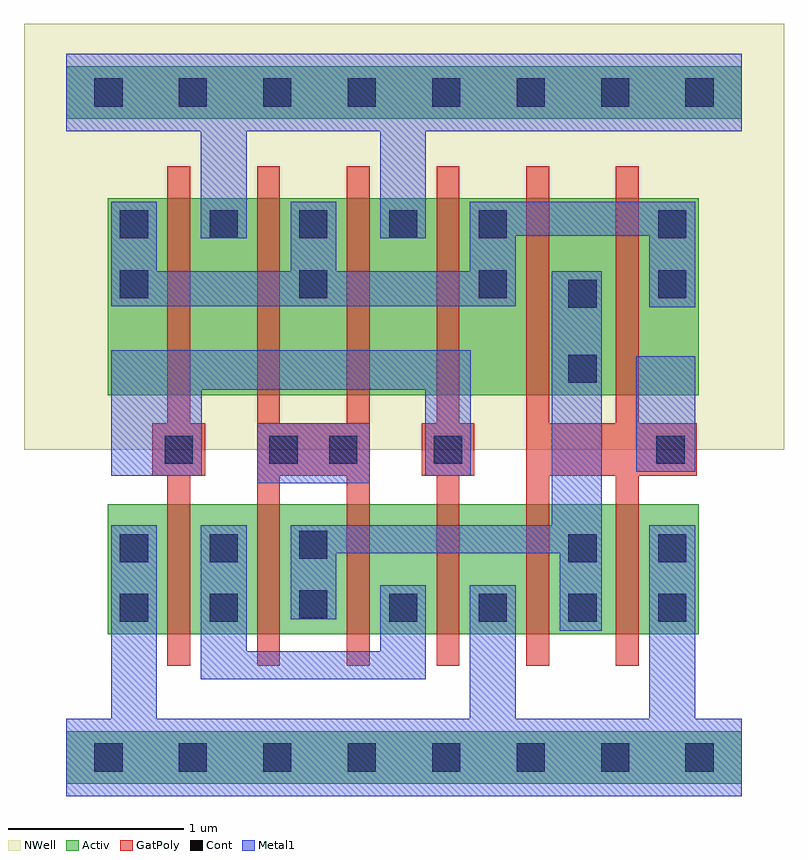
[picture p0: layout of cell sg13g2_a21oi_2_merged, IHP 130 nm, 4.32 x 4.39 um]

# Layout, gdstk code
import gdstk
lib = gdstk.Library(unit=1e-6, precision=1e-09)
def R(c, l, rs):  # rectangles x0, y0, x1, y1
    for r in rs: c.add(gdstk.rectangle(r[:2], r[2:], *l))
def A(c, l, x, y, w, h, nx, ny, dx, dy):  # array of equal rectangles
    R(c, l, [(x+i*dx, y+j*dy, x+i*dx+w, y+j*dy+h) for i in range(nx) for j in range(ny)])
def P(c, l, *ps):  # polygons
    for p in ps: c.add(gdstk.Polygon(p, *l))
Activ = (1, 0)
GatPoly = (5, 0)
Cont = (6, 0)
Metal1 = (8, 0)
NWell = (31, 0)

sg13g2_a21oi_2_merged = lib.new_cell('sg13g2_a21oi_2_merged')
R(sg13g2_a21oi_2_merged, Activ, [(0,-0.15,3.84,0.15), (0.235,0.7,3.595,1.44), (0.235,2.06,3.595,3.18), (0,3.63,3.84,3.93)])
P(sg13g2_a21oi_2_merged, GatPoly, [(0.575,0.52),(0.575,1.6),(0.49,1.6),(0.49,1.9),(0.575,1.9),(0.575,3.36),(0.705,3.36),(0.705,1.9),(0.79,1.9),(0.79,1.6),(0.705,1.6),(0.705,0.52)],
  [(1.085,0.52),(1.085,3.36),(1.215,3.36),(1.215,1.9),(1.595,1.9),(1.595,3.36),(1.725,3.36),(1.725,0.52),(1.595,0.52),(1.595,1.6),(1.215,1.6),(1.215,0.52)],
  [(2.105,0.52),(2.105,1.6),(2.02,1.6),(2.02,1.9),(2.105,1.9),(2.105,3.36),(2.235,3.36),(2.235,1.9),(2.32,1.9),(2.32,1.6),(2.235,1.6),(2.235,0.52)],
  [(2.615,0.52),(2.615,3.36),(2.745,3.36),(2.745,1.9),(3.125,1.9),(3.125,3.36),(3.255,3.36),(3.255,1.9),(3.585,1.9),(3.585,1.6),(3.255,1.6),(3.255,0.52),(3.125,0.52),(3.125,1.6),(2.745,1.6),(2.745,0.52)])
A(sg13g2_a21oi_2_merged, Cont, 0.16, -0.08, 0.16, 0.16, 8, 2, 0.48, 3.78)
A(sg13g2_a21oi_2_merged, Cont, 1.835, 0.77, 0.16, 0.16, 4, 1, 0.51, 0)
A(sg13g2_a21oi_2_merged, Cont, 0.305, 2.61, 0.16, 0.16, 4, 1, 1.02, 0)
A(sg13g2_a21oi_2_merged, Cont, 0.305, 2.95, 0.16, 0.16, 5, 1, 0.51, 0)
R(sg13g2_a21oi_2_merged, Cont, [(0.305,0.77,0.465,0.93), (0.815,0.77,0.975,0.93), (1.325,0.79,1.485,0.95), (0.305,1.11,0.465,1.27), (0.815,1.11,0.975,1.27), (2.855,1.11,3.015,1.27), (3.365,1.11,3.525,1.27), (1.325,1.13,1.485,1.29), (0.56,1.67,0.72,1.83), (1.155,1.67,1.315,1.83), (1.495,1.67,1.655,1.83), (2.09,1.67,2.25,1.83), (3.355,1.67,3.515,1.83), (2.855,2.13,3.015,2.29), (2.855,2.555,3.015,2.715), (3.365,2.95,3.525,3.11)])
R(sg13g2_a21oi_2_merged, Metal1, [(1.085,1.56,1.725,1.9), (3.24,1.625,3.575,2.28)])
P(sg13g2_a21oi_2_merged, Metal1, [(0.765,0.445),(0.765,1.32),(1.025,1.32),(1.025,0.605),(1.785,0.605),(1.785,0.98),(2.045,0.98),(2.045,0.445)],
  [(0,-0.22),(0,0.22),(0.255,0.22),(0.255,1.32),(0.515,1.32),(0.515,0.22),(2.295,0.22),(2.295,0.98),(2.555,0.98),(2.555,0.22),(3.315,0.22),(3.315,1.32),(3.575,1.32),(3.575,0.22),(3.84,0.22),(3.84,-0.22)],
  [(0.255,1.6),(0.255,2.315),(2.3,2.315),(2.3,1.6),(2.04,1.6),(2.04,2.09),(0.77,2.09),(0.77,1.6)],
  [(2.805,0.72),(2.805,1.16),(1.535,1.16),(1.535,0.785),(1.275,0.785),(1.275,1.32),(2.76,1.32),(2.76,2.765),(3.045,2.765),(3.045,0.72)],
  [(3.315,2.56),(3.315,2.965),(2.555,2.965),(2.555,2.565),(0.255,2.565),(0.255,3.16),(0.515,3.16),(0.515,2.765),(1.275,2.765),(1.275,3.16),(1.535,3.16),(1.535,2.765),(2.295,2.765),(2.295,3.16),(3.575,3.16),(3.575,2.56)],
  [(0.765,2.95),(0.765,3.56),(0,3.56),(0,4),(3.84,4),(3.84,3.56),(2.045,3.56),(2.045,2.95),(1.785,2.95),(1.785,3.56),(1.025,3.56),(1.025,2.95)])
R(sg13g2_a21oi_2_merged, NWell, [(-0.24,1.75,4.08,4.17)])

lib.write_gds('sg13g2_a21oi_2_merged.gds')
